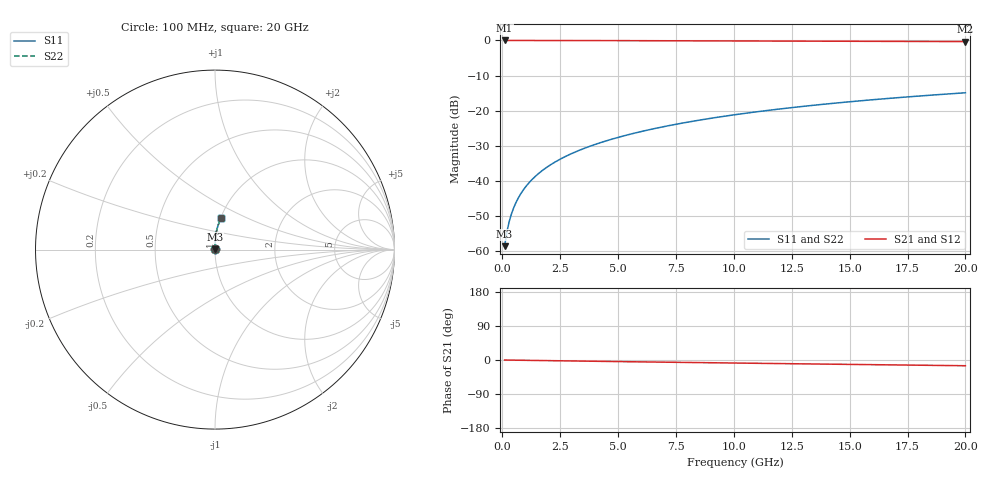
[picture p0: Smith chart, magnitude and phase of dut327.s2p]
! Touchstone file exported from HFSS 2024.1.0
!  File:  C:/UserFiles/LocalFiles/RDL_TSV_Batchsim/temp_RDL_top_327_1779607196.aedt
!  Generated:  03:22:25 PM May 24, 2026
!  Design:  RDL_top
!  Project:  temp_RDL_top_327_1779607196
!  Setup:  Setup1
!  Solution:  Sweep
! Variables:
!  dtsv = 10.80580581um
!  hbump = 3um
!  htsv = 93.84um
!  ldown = 100um
!  lrdl = 164.48um
!  p = 40
!  p1 = 57.34um
!  rhole = 1um
!  t = 450um
!  tdown = 3.915915916um
!  trdl = 4.25um
!  wdown = 15.38538539um
!  wrdl = 21.61um
# GHz S MA R 50.000000
! Terminal data exported
! Port[1] = Box2_T1
! Port[2] = Box2_T2
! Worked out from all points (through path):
!   200 points, 100 MHz to 20 GHz, reference 50 ohm
!   highest |S21| = -0.01 dB at 100 MHz (marker M1); lowest = -0.3 dB at 20 GHz (marker M2)
!   group delay of S21, straight-line fit = 2.08 ps
!   lowest |S11| = -58.5 dB at 100 MHz (marker M3), VSWR 1.00, Z = 50.1 + j0.0865 ohm
!   |S11| at or under -10 dB: start of sweep to end of sweep
!   |S22| runs from -58.5 to -14.9 dB; largest |S21 - S12| = 2e-15
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0.1  0.001186 46.8  0.9992 -0.1  0.9992 -0.1  0.001186 46.8
! Gamma 0 0 0 0
! Port Impedance 50 0 50 0
0.2  0.001903 63.5  0.9991 -0.2  0.9991 -0.2  0.001903 63.5
0.3  0.002669 70.7  0.9991 -0.3  0.9991 -0.3  0.002669 70.7
0.4  0.003447 74.8  0.999 -0.4  0.999 -0.4  0.003447 74.8
0.5  0.004232 77.5  0.999 -0.4  0.999 -0.4  0.004232 77.5
0.7  0.005816 80.8  0.9989 -0.6  0.9989 -0.6  0.005816 80.8
0.8  0.006613 81.9  0.9989 -0.7  0.9989 -0.7  0.006613 81.9
1  0.008218 83.5  0.9988 -0.9  0.9988 -0.9  0.008218 83.5
1.2  0.009831 84.6  0.9986 -1.0  0.9986 -1.0  0.009831 84.6
1.4  0.01145 85.4  0.9985 -1.2  0.9985 -1.2  0.01145 85.4
1.7  0.01389 86.3  0.9983 -1.5  0.9983 -1.5  0.01389 86.3
2  0.01635 86.9  0.998 -1.7  0.998 -1.7  0.01635 86.9
2.7  0.02214 87.8  0.9972 -2.3  0.9972 -2.3  0.02214 87.8
3.5  0.02886 88.4  0.9961 -3.0  0.9961 -3.0  0.02886 88.4
4.2  0.03483 88.6  0.9949 -3.6  0.9949 -3.6  0.03483 88.6
5  0.04178 88.7  0.9935 -4.2  0.9935 -4.2  0.04178 88.7
6.8  0.05784 88.4  0.9901 -5.6  0.9901 -5.6  0.05784 88.4
8.4  0.0725 87.7  0.9868 -6.8  0.9868 -6.8  0.0725 87.7
10.1  0.08832 86.6  0.9834 -8.1  0.9834 -8.1  0.08832 86.6
13.4  0.1193 84.2  0.9768 -10.5  0.9768 -10.5  0.1193 84.2
16.7  0.15 81.6  0.9701 -12.8  0.9701 -12.8  0.15 81.6
20  0.1801 78.9  0.9631 -15.1  0.9631 -15.1  0.1801 78.9
